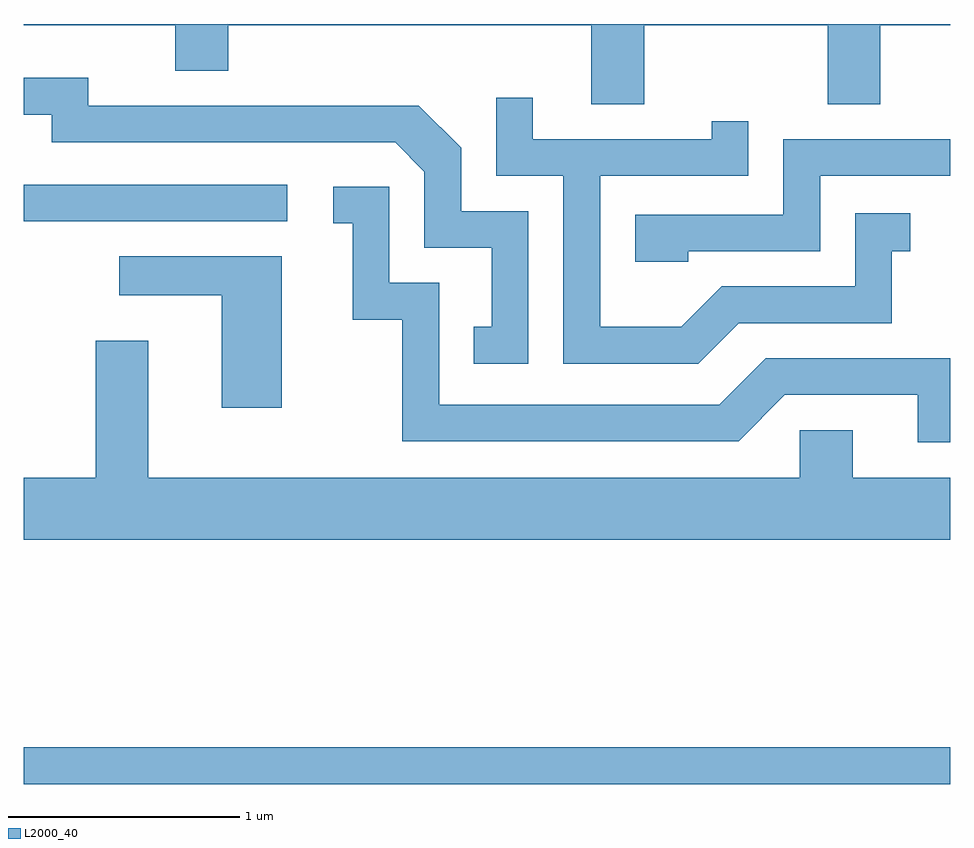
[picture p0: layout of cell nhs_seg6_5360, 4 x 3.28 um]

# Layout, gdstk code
import gdstk
lib = gdstk.Library(unit=1e-6, precision=1e-09)
def R(c, l, rs):  # rectangles x0, y0, x1, y1
    for r in rs: c.add(gdstk.rectangle(r[:2], r[2:], *l))
def P(c, l, *ps):  # polygons
    for p in ps: c.add(gdstk.Polygon(p, *l))
L2000_40 = (2000, 40)

nhs_seg6_5360 = lib.new_cell('nhs_seg6_5360')
R(nhs_seg6_5360, L2000_40, [(347.611,1648.881,351.611,1649.039), (347.611,1651.311,348.748,1651.469)])
P(nhs_seg6_5360, L2000_40, [(350.289,1652.156),(351.081,1652.156),(351.081,1651.816),(351.309,1651.816),(351.309,1652.156),(351.611,1652.156),(351.611,1652.162),(347.611,1652.162),(347.611,1652.156),(348.266,1652.156),(348.266,1651.961),(348.494,1651.961),(348.494,1652.156),(350.061,1652.156),(350.061,1651.816),(350.289,1651.816)],
  [(349.789,1651.354),(349.499,1651.354),(349.499,1651.627),(349.317,1651.809),(347.889,1651.809),(347.889,1651.929),(347.611,1651.929),(347.611,1651.771),(347.731,1651.771),(347.731,1651.651),(349.214,1651.651),(349.341,1651.524),(349.341,1651.196),(349.631,1651.196),(349.631,1650.854),(349.553,1650.854),(349.553,1650.696),(349.789,1650.696)],
  [(350.697,1650.871),(351.359,1650.871),(351.359,1651.181),(351.438,1651.181),(351.438,1651.344),(351.201,1651.344),(351.201,1651.029),(350.624,1651.029),(350.449,1650.854),(350.099,1650.854),(350.099,1651.506),(350.739,1651.506),(350.739,1651.743),(350.581,1651.743),(350.581,1651.664),(349.809,1651.664),(349.809,1651.843),(349.651,1651.843),(349.651,1651.506),(349.941,1651.506),(349.941,1650.696),(350.522,1650.696)],
  [(350.479,1651.181),(351.049,1651.181),(351.049,1651.506),(351.611,1651.506),(351.611,1651.664),(350.891,1651.664),(350.891,1651.339),(350.251,1651.339),(350.251,1651.136),(350.479,1651.136)],
  [(351.611,1650.719),(350.814,1650.719),(350.614,1650.519),(349.404,1650.519),(349.404,1651.044),(349.189,1651.044),(349.189,1651.459),(348.948,1651.459),(348.948,1651.301),(349.031,1651.301),(349.031,1650.886),(349.246,1650.886),(349.246,1650.361),(350.697,1650.361),(350.897,1650.561),(351.471,1650.561),(351.471,1650.356),(351.611,1650.356)],
  [(348.724,1651.159),(348.023,1651.159),(348.023,1650.991),(348.466,1650.991),(348.466,1650.506),(348.724,1650.506)],
  [(351.611,1650.204),(351.189,1650.204),(351.189,1650.409),(350.961,1650.409),(350.961,1650.204),(348.149,1650.204),(348.149,1650.794),(347.921,1650.794),(347.921,1650.204),(347.611,1650.204),(347.611,1649.936),(351.611,1649.936)])

lib.write_gds('nhs_seg6_5360.gds')
